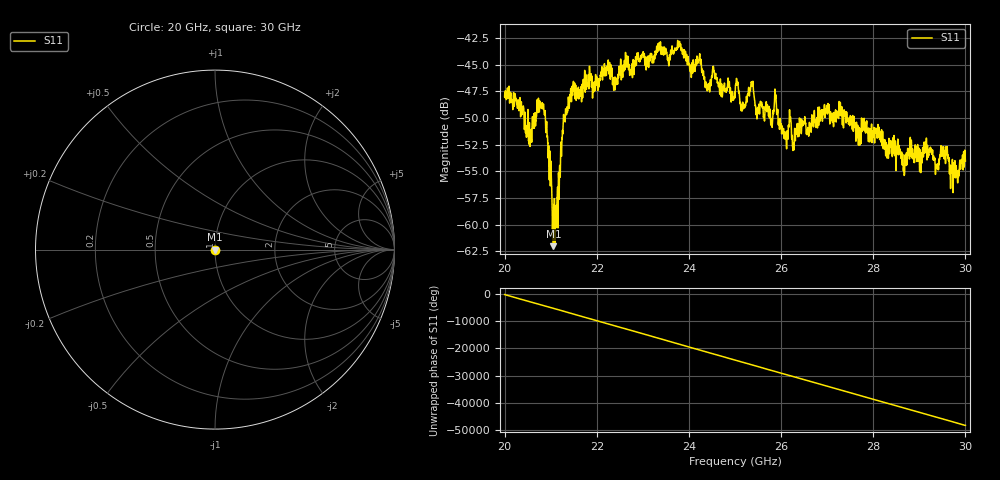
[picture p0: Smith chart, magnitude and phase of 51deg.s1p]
#  HZ  S  RI  R  50.00
! Rohde & Schwarz ZVA40 4Ports - Version 3.90 - 1145.1110k42 SN: 100403
! Date: 2023-10-03 12:00:04
! Measurement: S12
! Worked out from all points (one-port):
!   5001 points, 20 GHz to 30 GHz, reference 50 ohm
!   lowest |S11| = -62.0 dB at 21.06 GHz (marker M1), VSWR 1.00, Z = 49.9 + j0.0177 ohm
!   |S11| at or under -10 dB: start of sweep to end of sweep
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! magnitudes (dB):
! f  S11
! 20 GHz  -48.0
! 20.37 GHz  -49.0
! 20.52 GHz  -51.8
! 20.83 GHz  -49.2
! 20.96 GHz  -52.7
! 21.06 GHz  -62.0
! 21.14 GHz  -57.5
! 21.25 GHz  -51.9
! 21.48 GHz  -47.9
! 22.5 GHz  -45.3
! 23.75 GHz  -43.2
! 24.22 GHz  -44.5
! 24.4 GHz  -47.2
! 24.54 GHz  -45.5
! 25 GHz  -48.0
! 25.17 GHz  -48.8
! 25.37 GHz  -46.6
! 25.49 GHz  -49.3
! 25.77 GHz  -50.6
! 25.88 GHz  -48.1
! 26.08 GHz  -51.6
! 26.25 GHz  -52.8
! 26.98 GHz  -49.2
! 27.5 GHz  -50.0
! 28.75 GHz  -52.9
! 29.51 GHz  -53.1
! 29.83 GHz  -55.5
! 30 GHz  -54.0
